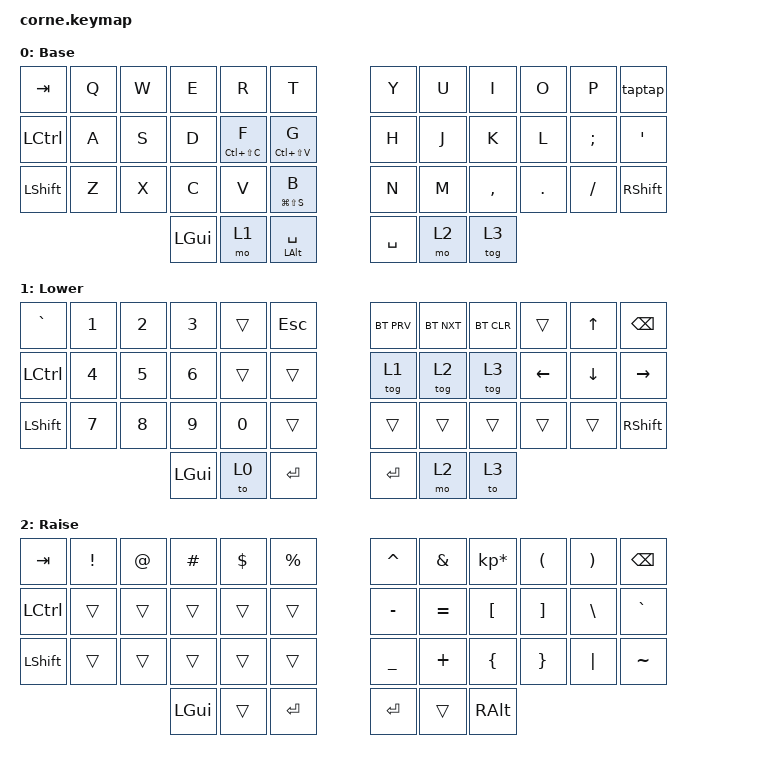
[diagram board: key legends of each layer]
/*
 * Copyright (c) 2020 The ZMK Contributors
 *
 * SPDX-License-Identifier: MIT
 */

#include <behaviors.dtsi>
#include <dt-bindings/zmk/bt.h>
#include <dt-bindings/zmk/keys.h>

/ {
    macros {
        alt_tab: alt_tab {
            compatible = "zmk,behavior-macro";
            #binding-cells = <0>;
            bindings = <&kp LA(TAB)>;
            label = "ALT_TAB";
        };
    };

    behaviors {
        taptap: taptap {
            compatible = "zmk,behavior-tap-dance";
            label = "TAPTAP";
            #binding-cells = <0>;
            bindings = <&kp BACKSPACE>, <&kp LC(BACKSPACE)>;

            tapping-term-ms = <250>;
        };
    };

    keymap {
        compatible = "zmk,keymap";

        default_layer {
            // -----------------------------------------------------------------------------------------
            // |  TAB |  Q  |  W  |  E  |  R  |  T  |   |  Y  |  U   |  I  |  O  |  P  | BKSP |
            // | CTRL |  A  |  S  |  D  |  F  |  G  |   |  H  |  J   |  K  |  L  |  ;  |  '   |
            // | SHFT |  Z  |  X  |  C  |  V  |  B  |   |  N  |  M   |  ,  |  .  |  /  | ESC  |
            //                    | GUI | LWR | SPC |   | ENT | RSE  | ALT |

            display-name = "Base";
            bindings = <
&kp TAB    &kp Q  &kp W  &kp E     &kp R            &kp T                 &kp Y      &kp U  &kp I      &kp O    &kp P     &taptap
&kp LCTRL  &kp A  &kp S  &kp D     &mt LC(LS(C)) F  &mt LC(LS(V)) G       &kp H      &kp J  &kp K      &kp L    &kp SEMI  &kp SQT
&kp LSHFT  &kp Z  &kp X  &kp C     &kp V            &mt LG(LS(S)) B       &kp N      &kp M  &kp COMMA  &kp DOT  &kp FSLH  &kp RIGHT_SHIFT
                         &kp LGUI  &mo 1            &mt LEFT_ALT SPACE    &kp SPACE  &mo 2  &tog 3
            >;
        };

        lower_layer {
            // -----------------------------------------------------------------------------------------
            // |  TAB |  1  |  2  |  3  |  4  |  5  |   |  6  |  7  |  8  |  9  |  0  | BKSP |
            // | BTCLR| BT1 | BT2 | BT3 | BT4 | BT5 |   | LFT | DWN |  UP | RGT |     |      |
            // | SHFT |     |     |     |     |     |   |     |     |     |     |     |      |
            //                    | GUI |     | SPC |   | ENT |     | ALT |

            display-name = "Lower";
            bindings = <
&kp GRAVE         &kp N1        &kp N2        &kp N3        &trans  &kp ESCAPE    &bt BT_PRV  &bt BT_NXT  &bt BT_CLR  &trans          &kp UP    &kp BSPC
&kp LEFT_CONTROL  &kp NUMBER_4  &kp NUMBER_5  &kp NUMBER_6  &trans  &trans        &tog 1      &tog 2      &tog 3      &kp LEFT_ARROW  &kp DOWN  &kp RIGHT_ARROW
&kp LSHFT         &kp N7        &kp NUMBER_8  &kp N9        &kp N0  &trans        &trans      &trans      &trans      &trans          &trans    &kp RIGHT_SHIFT
                                              &kp LGUI      &to 0   &kp ENTER     &kp RET     &mo 2       &to 3
            >;
        };

        raise_layer {
            // -----------------------------------------------------------------------------------------
            // |  TAB |  !  |  @  |  #  |  $  |  %  |   |  ^  |  &  |  *  |  (  |  )  | BKSP |
            // | CTRL |     |     |     |     |     |   |  -  |  =  |  [  |  ]  |  \  |  `   |
            // | SHFT |     |     |     |     |     |   |  _  |  +  |  {  |  }  | "|" |  ~   |
            //                    | GUI |     | SPC |   | ENT |     | ALT |

            display-name = "Raise";
            bindings = <
&kp TAB    &kp EXCL  &kp AT  &kp HASH  &kp DLLR  &kp PRCNT    &kp CARET  &kp AMPS   &kp KP_MULTIPLY  &kp LPAR  &kp RPAR  &kp BSPC
&kp LCTRL  &trans    &trans  &trans    &trans    &trans       &kp MINUS  &kp EQUAL  &kp LBKT         &kp RBKT  &kp BSLH  &kp GRAVE
&kp LSHFT  &trans    &trans  &trans    &trans    &trans       &kp UNDER  &kp PLUS   &kp LBRC         &kp RBRC  &kp PIPE  &kp TILDE
                             &kp LGUI  &trans    &kp RET      &kp RET    &trans     &kp RALT
            >;
        };

        layer_7 {
            status = "reserved";
            display-name = "Raise";
            bindings = <
&kp TAB    &kp NUMBER_1  &kp NUMBER_2  &kp NUMBER_3  &kp NUMBER_4  &kp N5       &trans   &trans  &trans    &trans  &trans  &kp BSPC
&kp LCTRL  &kp Q         &kp W         &kp E         &kp R         &kp T        &trans   &trans  &trans    &trans  &trans  &trans
&kp LSHFT  &kp A         &kp S         &kp D         &kp F         &kp G        &trans   &trans  &trans    &trans  &trans  &trans
                                       &kp LGUI      &to 1         &kp SPACE    &kp RET  &to 0   &kp RALT
            >;
        };
    };
};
